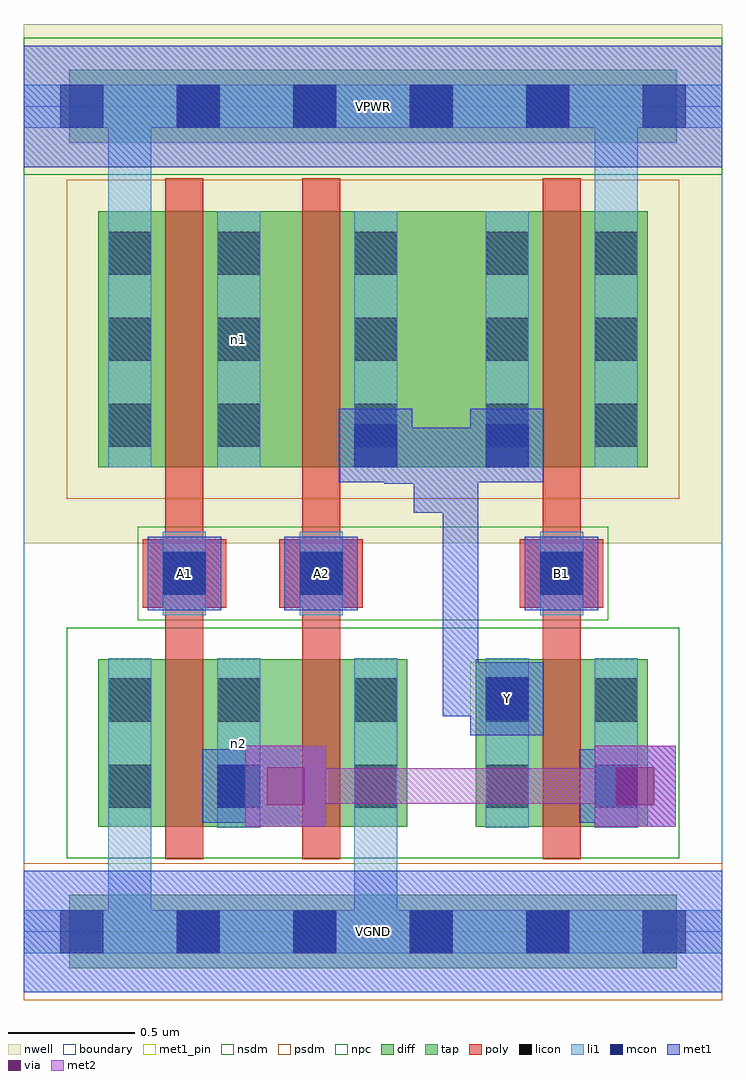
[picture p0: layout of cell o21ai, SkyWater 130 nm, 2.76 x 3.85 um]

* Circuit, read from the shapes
.subckt o21ai A1 A2 B1 VGND VPWR Y n1 n2
XM1 n2 A1 VGND VGND sky130_fd_pr__nfet_01v8 w=0.66 l=0.15
XM2 VGND A2 n2 VGND sky130_fd_pr__nfet_01v8 w=0.66 l=0.15
XM3 n2 B1 Y VGND sky130_fd_pr__nfet_01v8 w=0.66 l=0.15
XM4 n1 A1 VPWR VPWR sky130_fd_pr__pfet_01v8 w=1.01 l=0.15
XM5 Y A2 n1 VPWR sky130_fd_pr__pfet_01v8 w=1.01 l=0.15
XM6 VPWR B1 Y VPWR sky130_fd_pr__pfet_01v8 w=1.01 l=0.15
.ends

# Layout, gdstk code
import gdstk
lib = gdstk.Library(unit=1e-6, precision=1e-09)
def R(c, l, rs):  # rectangles x0, y0, x1, y1
    for r in rs: c.add(gdstk.rectangle(r[:2], r[2:], *l))
def A(c, l, x, y, w, h, nx, ny, dx, dy):  # array of equal rectangles
    R(c, l, [(x+i*dx, y+j*dy, x+i*dx+w, y+j*dy+h) for i in range(nx) for j in range(ny)])
nwell = (64, 20)
diff = (65, 20)
tap = (65, 44)
poly = (66, 20)
licon = (66, 44)
li1 = (67, 20)
mcon = (67, 44)
met1_pin = (68, 16)
met1 = (68, 20)
via = (68, 44)
met2 = (69, 20)
nsdm = (93, 44)
psdm = (94, 20)
npc = (95, 20)
boundary = (235, 4)

o21ai = lib.new_cell('o21ai')
R(o21ai, nwell, [(0,1.535,2.76,3.585)])
R(o21ai, diff, [(0.295,0.415,1.515,1.075), (1.785,0.415,2.465,1.075), (0.295,1.835,2.465,2.845)])
R(o21ai, tap, [(0.18,-0.145,2.58,0.145), (0.18,3.115,2.58,3.405)])
R(o21ai, poly, [(0.56,0.285,0.71,2.975), (1.1,0.285,1.25,2.975), (2.05,0.285,2.2,2.975), (0.47,1.28,0.8,1.55), (1.01,1.28,1.34,1.55), (1.96,1.28,2.29,1.55)])
A(o21ai, licon, 0.605, -0.085, 0.17, 0.17, 4, 2, 0.46, 3.26)
A(o21ai, licon, 0.335, 1.915, 0.17, 0.17, 1, 3, 0, 0.34)
A(o21ai, licon, 0.765, 1.915, 0.17, 0.17, 1, 3, 0, 0.34)
A(o21ai, licon, 1.305, 1.915, 0.17, 0.17, 1, 3, 0, 0.34)
A(o21ai, licon, 1.825, 1.915, 0.17, 0.17, 1, 3, 0, 0.34)
A(o21ai, licon, 2.255, 1.915, 0.17, 0.17, 1, 3, 0, 0.34)
R(o21ai, licon, [(0.335,0.49,0.505,0.66), (0.765,0.49,0.935,0.66), (1.305,0.49,1.475,0.66), (1.825,0.49,1.995,0.66), (2.255,0.49,2.425,0.66), (0.335,0.83,0.505,1), (0.765,0.83,0.935,1), (1.305,0.83,1.475,1), (1.825,0.83,1.995,1), (2.255,0.83,2.425,1), (0.55,1.33,0.72,1.5), (1.09,1.33,1.26,1.5), (2.04,1.33,2.21,1.5)])
R(o21ai, li1, [(0,-0.085,2.76,0.085), (0.335,-0.085,0.505,1.08), (1.305,-0.085,1.475,1.08), (0.335,0.41,0.505,1.08), (0.765,0.41,0.935,1.08), (1.305,0.41,1.475,1.08), (1.825,0.41,1.995,1.08), (2.255,0.41,2.425,1.08), (0.55,1.25,0.72,1.58), (1.09,1.25,1.26,1.58), (2.04,1.25,2.21,1.58), (0.335,1.835,0.505,2.845), (0.335,1.835,0.505,3.345), (0.765,1.835,0.935,2.845), (1.305,1.835,1.475,2.845), (1.825,1.835,1.995,2.845), (2.255,1.835,2.425,2.845), (2.255,1.835,2.425,3.345), (0,3.175,2.76,3.345)])
A(o21ai, mcon, 0.145, -0.085, 0.17, 0.17, 6, 2, 0.46, 3.26)
R(o21ai, mcon, [(0.765,0.49,0.935,0.66), (2.255,0.49,2.425,0.66), (1.825,0.835,1.995,1.005), (0.55,1.33,0.72,1.5), (1.09,1.33,1.26,1.5), (2.04,1.33,2.21,1.5), (1.305,1.835,1.475,2.005), (1.825,1.835,1.995,2.005)])
R(o21ai, met1_pin, [(0,-0.24,2.76,0.24), (1.765,0.775,2.055,1.065), (0.49,1.27,0.78,1.56), (1.03,1.27,1.32,1.56), (1.98,1.27,2.27,1.56), (0,3.02,2.76,3.5)])
R(o21ai, met1, [(0,-0.24,2.76,0.24), (0.875,0.415,1.195,0.735), (2.255,0.415,2.575,0.735), (0.705,0.43,0.995,0.72), (2.195,0.43,2.485,0.72), (0.78,0.505,1.105,0.645), (2.27,0.505,2.485,0.645), (1.765,0.775,2.055,1.065), (1.655,0.85,1.98,0.99), (1.655,0.85,1.795,1.795), (0.49,1.27,0.78,1.56), (1.03,1.27,1.32,1.56), (1.98,1.27,2.27,1.56), (1.54,1.655,1.795,1.795), (1.54,1.655,1.68,1.91), (1.655,1.655,1.795,1.99), (1.425,1.77,1.565,1.99), (1.425,1.77,1.68,1.91), (1.565,1.77,1.655,1.99), (1.245,1.775,1.535,2.065), (1.535,1.775,1.655,1.99), (1.765,1.775,2.055,2.065), (1.32,1.85,1.565,1.99), (1.535,1.85,1.655,1.99), (1.565,1.85,1.655,1.99), (1.655,1.85,1.98,1.99), (0,3.02,2.76,3.5)])
R(o21ai, via, [(0.96,0.5,1.11,0.65), (2.34,0.5,2.49,0.65)])
R(o21ai, met2, [(0.875,0.415,1.195,0.735), (2.255,0.415,2.575,0.735), (0.965,0.505,2.485,0.645)])
R(o21ai, nsdm, [(0.17,0.29,2.59,1.2), (0,2.99,2.76,3.53)])
R(o21ai, psdm, [(0,-0.27,2.76,0.27), (0.17,1.71,2.59,2.97)])
R(o21ai, npc, [(0.45,1.23,2.31,1.6)])
R(o21ai, boundary, [(0,0,2.76,3.26)])
o21ai.add(gdstk.Label('n1', (0.85,2.34), layer=67, texttype=5))
o21ai.add(gdstk.Label('n2', (0.85,0.745), layer=67, texttype=5))
o21ai.add(gdstk.Label('A1', (0.635,1.415), layer=68, texttype=5))
o21ai.add(gdstk.Label('A2', (1.175,1.415), layer=68, texttype=5))
o21ai.add(gdstk.Label('B1', (2.125,1.415), layer=68, texttype=5))
o21ai.add(gdstk.Label('Y', (1.91,0.92), layer=68, texttype=5))
o21ai.add(gdstk.Label('VPWR', (1.38,3.26), layer=68, texttype=5))
o21ai.add(gdstk.Label('VGND', (1.38,0), layer=68, texttype=5))
o21ai.add(gdstk.Label('A1', (0.635,1.415), layer=68, texttype=16))
o21ai.add(gdstk.Label('A2', (1.175,1.415), layer=68, texttype=16))
o21ai.add(gdstk.Label('B1', (2.125,1.415), layer=68, texttype=16))
o21ai.add(gdstk.Label('Y', (1.91,0.92), layer=68, texttype=16))
o21ai.add(gdstk.Label('VPWR', (1.38,3.26), layer=68, texttype=16))
o21ai.add(gdstk.Label('VGND', (1.38,0), layer=68, texttype=16))

lib.write_gds('o21ai.gds')
